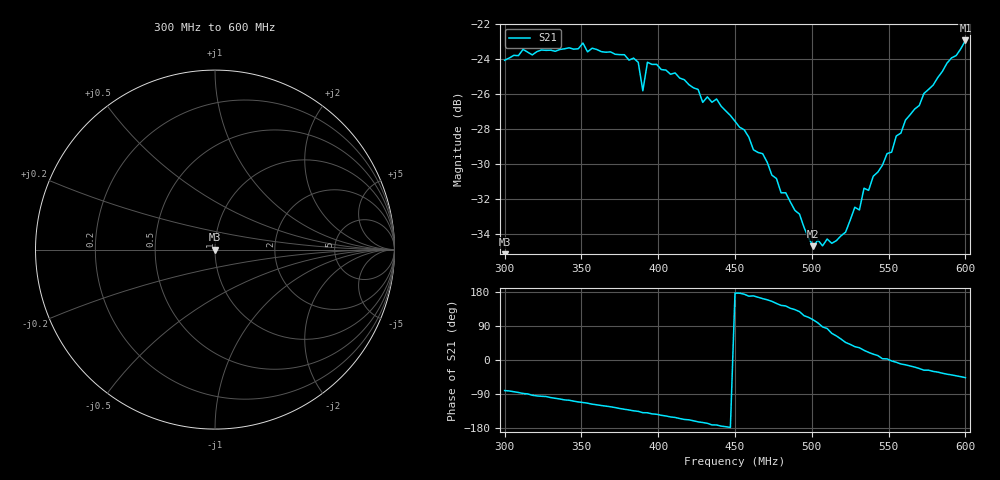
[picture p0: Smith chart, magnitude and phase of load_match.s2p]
! Created with skrf 1.8.0 (http://scikit-rf.org).
# Hz S RI R 50.0
!freq ReS11 ImS11 ReS21 ImS21 ReS12 ImS12 ReS22 ImS22
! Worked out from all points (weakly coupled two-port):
!   101 points, 300 MHz to 600 MHz, reference 50 ohm
!   highest |S21| = -22.92 dB at 600 MHz (marker M1); lowest = -34.7 dB at 501 MHz (marker M2)
!   lowest |S11| = - dB at 300 MHz (marker M3), VSWR 1.00, Z = 50 + j0 ohm
!   |S11| at or under -10 dB: start of sweep to end of sweep
!   S12 and S22 are empty: the file has one direction only
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3e8  0 0  0.0103 -0.0619  0 0  0 0
3.51e8  0 0  -0.0265 -0.065  0 0  0 0
3.54e8  0 0  -0.0269 -0.0606  0 0  0 0
3.84e8  0 0  -0.0442 -0.0457  0 0  0 0
3.87e8  0 0  -0.0441 -0.0434  0 0  0 0
3.9e8  0 0  -0.0387 -0.0336  0 0  0 0
3.93e8  0 0  -0.0469 -0.0404  0 0  0 0
4.02e8  0 0  -0.0488 -0.033  0 0  0 0
4.26e8  0 0  -0.0495 -0.0149  0 0  0 0
4.29e8  0 0  -0.0459 -0.0123  0 0  0 0
4.38e8  0 0  -0.048 -0.00717  0 0  0 0
4.5e8  0 0  -0.0418 0.00247  0 0  0 0
4.68e8  0 0  -0.0322 0.0105  0 0  0 0
5.01e8  0 0  -0.005 0.0177  0 0  0 0
5.22e8  0 0  0.0139 0.0146  0 0  0 0
5.28e8  0 0  0.0194 0.0137  0 0  0 0
5.31e8  0 0  0.0197 0.0125  0 0  0 0
5.34e8  0 0  0.0243 0.0116  0 0  0 0
5.37e8  0 0  0.0249 0.00915  0 0  0 0
5.52e8  0 0  0.0342 -0.00154  0 0  0 0
5.61e8  0 0  0.0412 -0.00931  0 0  0 0
6e8  0 0  0.0492 -0.0518  0 0  0 0
